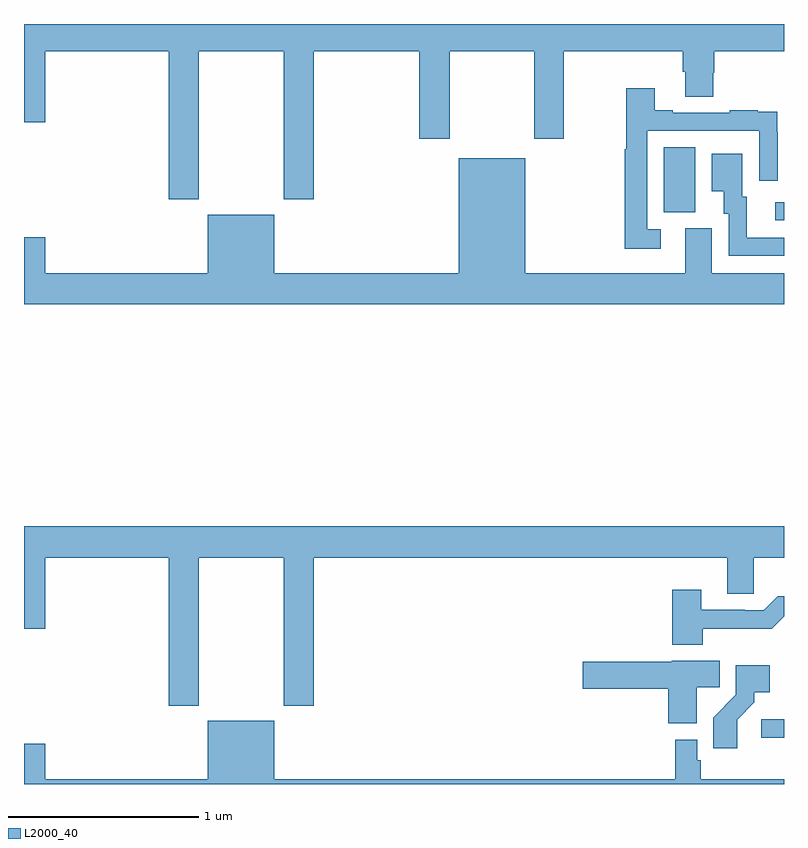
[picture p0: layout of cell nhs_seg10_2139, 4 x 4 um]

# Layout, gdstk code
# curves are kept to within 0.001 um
import gdstk
lib = gdstk.Library(unit=1e-6, precision=1e-09)
def R(c, l, rs):  # rectangles x0, y0, x1, y1
    for r in rs: c.add(gdstk.rectangle(r[:2], r[2:], *l))
def P(c, l, *ps):  # polygons
    for p in ps: c.add(gdstk.Polygon(p, *l))
L2000_40 = (2000, 40)

nhs_seg10_2139 = lib.new_cell('nhs_seg10_2139')
R(nhs_seg10_2139, L2000_40, [(228.879,1256.743,229,1256.841), (228.954,1259.466,229,1259.562), (228.368,1259.509,228.532,1259.852)])
P(nhs_seg10_2139, L2000_40, [(225.921,1260.356),(226.366,1260.356),(226.366,1259.577),(226.526,1259.577),(226.526,1260.356),(227.081,1260.356),(227.081,1259.895),(227.241,1259.895),(227.241,1260.356),(227.686,1260.356),(227.686,1259.895),(227.841,1259.895),(227.841,1260.356),(228.467,1260.356),(228.467,1260.25),(228.479,1260.25),(228.479,1260.118),(228.627,1260.118),(228.627,1260.243),(228.632,1260.243),(228.632,1260.356),(229,1260.356),(229,1260.5),(225,1260.5),(225,1259.982),(225.112,1259.982),(225.112,1260.356),(225.761,1260.356),(225.761,1259.577),(225.921,1259.577)],
  [(228.352,1259.421),(228.279,1259.421),(228.279,1259.937),(228.87,1259.937),(228.87,1259.676),(228.966,1259.676),(228.966,1259.93),(228.965,1259.93),(228.965,1260.039),(228.863,1260.039),(228.863,1260.046),(228.715,1260.046),(228.715,1260.033),(228.415,1260.033),(228.415,1260.046),(228.319,1260.046),(228.319,1260.163),(228.171,1260.163),(228.171,1259.84),(228.163,1259.84),(228.163,1259.316),(228.352,1259.316)],
  [(229,1259.376),(228.805,1259.376),(228.805,1259.592),(228.781,1259.592),(228.781,1259.818),(228.62,1259.818),(228.62,1259.621),(228.683,1259.621),(228.683,1259.502),(228.708,1259.502),(228.708,1259.28),(229,1259.28)],
  [(229,1259.188),(228.619,1259.188),(228.619,1259.424),(228.479,1259.424),(228.479,1259.188),(227.638,1259.188),(227.638,1259.794),(227.288,1259.794),(227.288,1259.188),(226.318,1259.188),(226.318,1259.497),(225.968,1259.497),(225.968,1259.188),(225.112,1259.188),(225.112,1259.377),(225,1259.377),(225,1259.024),(229,1259.024)],
  [(225,1257.318),(225.112,1257.318),(225.112,1257.692),(225.761,1257.692),(225.761,1256.913),(225.921,1256.913),(225.921,1257.692),(226.366,1257.692),(226.366,1256.913),(226.526,1256.913),(226.526,1257.692),(228.701,1257.692),(228.701,1257.502),(228.84,1257.502),(228.84,1257.692),(229,1257.692),(229,1257.856),(225,1257.856)],
  [(228.573,1257.318),(228.935,1257.317),(229,1257.382),(229,1257.487),(228.967,1257.487),(228.894,1257.414),(228.794,1257.414),(228.794,1257.417),(228.565,1257.417),(228.565,1257.523),(228.413,1257.523),(228.413,1257.233),(228.573,1257.233)],
  [(228.541,1257.01),(228.662,1257.01),(228.662,1257.148),(228.408,1257.148),(228.408,1257.143),(227.94,1257.143),(227.94,1257.001),(228.392,1257.001),(228.392,1256.819),(228.541,1256.819)],
  [(228.754,1256.839),(228.844,1256.929),(228.844,1256.984),(228.925,1256.984),(228.925,1257.124),(228.747,1257.124),(228.747,1256.969),(228.628,1256.85),(228.628,1256.688),(228.754,1256.688)],
  [(229,1256.524),(228.563,1256.524),(228.563,1256.625),(228.543,1256.625),(228.543,1256.734),(228.427,1256.734),(228.427,1256.524),(226.318,1256.524),(226.318,1256.833),(225.968,1256.833),(225.968,1256.524),(225.112,1256.524),(225.112,1256.713),(225,1256.713),(225,1256.5),(229,1256.5)])

lib.write_gds('nhs_seg10_2139.gds')
